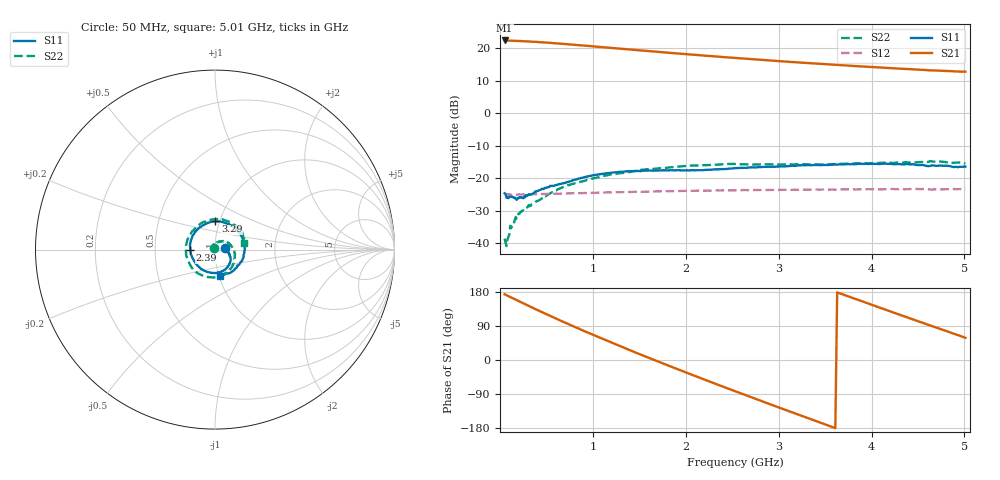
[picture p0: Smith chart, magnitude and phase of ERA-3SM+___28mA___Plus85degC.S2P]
! Mini-Circuits
! S2P DATA File Format
! Type: MMIC Amplifier
! Model: ERA-3SM  Reference Data: RDF-1128B
! Note: All S Parameters are in dB deg format
! TEST CONDITIONS: INPUT POWER = -25dBm, Icc = 28mA, Vd = 3.09V @Temperature = +85degC
! 401 Frequency points
# MHz S DB R 50
!  FREQ  dB(S11)  PHS(S11)  dB(S21)  PHS(S21)  dB(S12)  PHS(S12)  dB(S22)  PHS(S22)
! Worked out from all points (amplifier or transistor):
!   401 points, 50 MHz to 5.01 GHz, reference 50 ohm
!   highest |S21| = 22.3 dB at 50 MHz (marker M1)
!   |S21| within 3 dB of that: start of sweep to 1.488 GHz
!   unconditionally stable (mu >= 1): start of sweep to end of sweep
!   at 710 MHz: K = 1.07, MAG = 21.4 dB, |S12| = -24.7 dB
!   at 2.05 GHz: K = 1.19, MAG = 18.3 dB, |S12| = -23.9 dB
!   at 5.01 GHz: K = 1.76, MAG = 12.9 dB, |S12| = -23.2 dB
!   S11 on the Smith chart (normalised r, x): 50 MHz: 1.12, +0.02; 2.39 GHz: 0.76, -0.01; 3.29 GHz: 0.95, +0.31; 5.01 GHz: 1.01, -0.31
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50  -24.66 10.7  22.34 173.4  -24.92 -3.2  -38.62 127.7
230  -25.88 3.1  22.14 152.1  -25.05 -13.0  -30.37 101.4
360  -24.64 -3.5  21.94 136.8  -24.96 -20.7  -27.72 75.8
470  -23.38 -7.8  21.75 124.2  -24.91 -26.8  -25.97 63.0
660  -21.75 -16.6  21.32 103.0  -24.77 -38.2  -23.05 41.1
880  -19.94 -30.6  20.82 79.3  -24.64 -51.3  -21.08 18.4
1100  -18.72 -48.6  20.28 56.2  -24.47 -65.1  -19.39 -3.9
1290  -18.03 -64.2  19.83 36.8  -24.34 -77.1  -18.50 -21.6
1500  -17.81 -82.7  19.31 15.8  -24.19 -90.6  -17.64 -42.0
1710  -17.64 -103.4  18.80 -4.8  -24.09 -104.1  -16.99 -61.2
1890  -17.62 -122.8  18.38 -22.1  -23.98 -115.5  -16.58 -78.7
2070  -17.58 -143.0  17.98 -39.3  -23.90 -127.4  -16.14 -94.3
2390  -17.21 -178.6  17.25 -69.3  -23.79 -148.3  -15.75 -124.5
2530  -16.97 166.3  16.95 -82.2  -23.73 -157.3  -15.65 -137.5
2870  -16.53 131.2  16.25 -113.3  -23.63 -179.6  -15.73 -168.6
3090  -16.35 109.3  15.80 -133.2  -23.63 165.5  -15.76 171.7
3290  -16.06 89.4  15.43 -151.1  -23.55 153.0  -15.73 151.8
3370  -16.00 81.4  15.28 -158.3  -23.56 147.2  -15.79 144.4
3730  -15.74 45.5  14.65 169.7  -23.47 123.7  -15.55 112.9
4190  -15.61 1.5  13.88 129.4  -23.38 93.1  -15.21 74.5
4570  -16.08 -33.2  13.26 96.3  -23.35 67.5  -15.14 46.1
5010  -16.46 -79.6  12.74 58.5  -23.19 39.9  -15.56 12.9
